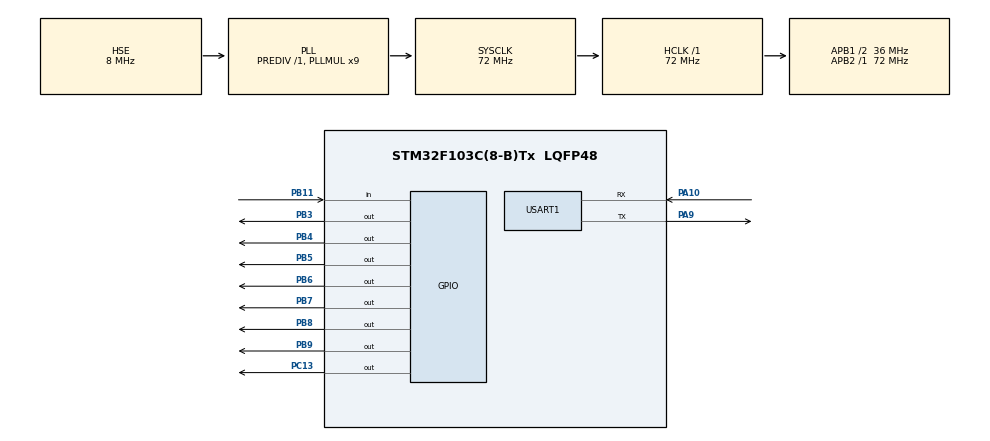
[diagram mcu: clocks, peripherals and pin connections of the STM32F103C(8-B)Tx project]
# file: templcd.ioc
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Mcu.Family=STM32F1
Mcu.Name=STM32F103C(8-B)Tx
Mcu.Package=LQFP48
NVIC.PriorityGroup=NVIC_PRIORITYGROUP_4
PA10.Mode=Asynchronous
PA10.Signal=USART1_RX
PA13.Mode=Serial_Wire
PA13.Signal=SYS_JTMS-SWDIO
PA14.Mode=Serial_Wire
PA14.Signal=SYS_JTCK-SWCLK
PA9.Mode=Asynchronous
PA9.Signal=USART1_TX
PB11.Signal=GPIO_Input
PB3.GPIO_Speed=GPIO_SPEED_FREQ_MEDIUM
PB3.Signal=GPIO_Output
PB4.GPIO_Speed=GPIO_SPEED_FREQ_MEDIUM
PB4.Signal=GPIO_Output
PB5.GPIO_Speed=GPIO_SPEED_FREQ_MEDIUM
PB5.Signal=GPIO_Output
PB6.GPIO_Speed=GPIO_SPEED_FREQ_MEDIUM
PB6.Signal=GPIO_Output
PB7.GPIO_Speed=GPIO_SPEED_FREQ_MEDIUM
PB7.Signal=GPIO_Output
PB8.GPIO_Speed=GPIO_SPEED_FREQ_MEDIUM
PB8.Signal=GPIO_Output
PB9.GPIO_Speed=GPIO_SPEED_FREQ_MEDIUM
PB9.Signal=GPIO_Output
PC13-TAMPER-RTC.GPIO_Speed=GPIO_SPEED_FREQ_MEDIUM
PC13-TAMPER-RTC.Signal=GPIO_Output
PD0-OSC_IN.Mode=HSE-External-Oscillator
PD0-OSC_IN.Signal=RCC_OSC_IN
PD1-OSC_OUT.Mode=HSE-External-Oscillator
PD1-OSC_OUT.Signal=RCC_OSC_OUT
ProjectManager.HeapSize=0x200
ProjectManager.StackSize=0x400
ProjectManager.TargetToolchain=Makefile
RCC.AHBFreq_Value=72000000
RCC.APB1CLKDivider=RCC_HCLK_DIV2
RCC.APB1Freq_Value=36000000
RCC.APB1TimFreq_Value=72000000
RCC.APB2Freq_Value=72000000
RCC.APB2TimFreq_Value=72000000
RCC.HCLKFreq_Value=72000000
RCC.PLLMUL=RCC_PLL_MUL9
RCC.PLLSourceVirtual=RCC_PLLSOURCE_HSE
RCC.SYSCLKFreq_VALUE=72000000
RCC.SYSCLKSource=RCC_SYSCLKSOURCE_PLLCLK
RCC.USBFreq_Value=72000000
USART1.VirtualMode=VM_ASYNC
board=templcd

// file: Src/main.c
/**
  ******************************************************************************
  * File Name          : main.c
  * Description        : Main program body
  ******************************************************************************
  ** This notice applies to any and all portions of this file
  * that are not between comment pairs USER CODE BEGIN and
  * USER CODE END. Other portions of this file, whether
  * inserted by the user or by software development tools
  * are owned by their respective copyright owners.
  *
  * COPYRIGHT(c) 2017 STMicroelectronics
  *
  * Redistribution and use in source and binary forms, with or without modification,
  * are permitted provided that the following conditions are met:
  *   1. Redistributions of source code must retain the above copyright notice,
  *      this list of conditions and the following disclaimer.
  *   2. Redistributions in binary form must reproduce the above copyright notice,
  *      this list of conditions and the following disclaimer in the documentation
  *      and/or other materials provided with the distribution.
  *   3. Neither the name of STMicroelectronics nor the names of its contributors
  *      may be used to endorse or promote products derived from this software
  *      without specific prior written permission.
  *
  * THIS SOFTWARE IS PROVIDED BY THE COPYRIGHT HOLDERS AND CONTRIBUTORS "AS IS"
  * AND ANY EXPRESS OR IMPLIED WARRANTIES, INCLUDING, BUT NOT LIMITED TO, THE
  * IMPLIED WARRANTIES OF MERCHANTABILITY AND FITNESS FOR A PARTICULAR PURPOSE ARE
  * DISCLAIMED. IN NO EVENT SHALL THE COPYRIGHT HOLDER OR CONTRIBUTORS BE LIABLE
  * FOR ANY DIRECT, INDIRECT, INCIDENTAL, SPECIAL, EXEMPLARY, OR CONSEQUENTIAL
  * DAMAGES (INCLUDING, BUT NOT LIMITED TO, PROCUREMENT OF SUBSTITUTE GOODS OR
  * SERVICES; LOSS OF USE, DATA, OR PROFITS; OR BUSINESS INTERRUPTION) HOWEVER
  * CAUSED AND ON ANY THEORY OF LIABILITY, WHETHER IN CONTRACT, STRICT LIABILITY,
  * OR TORT (INCLUDING NEGLIGENCE OR OTHERWISE) ARISING IN ANY WAY OUT OF THE USE
  * OF THIS SOFTWARE, EVEN IF ADVISED OF THE POSSIBILITY OF SUCH DAMAGE.
  *
  ******************************************************************************
  */
#include "main.h"
#include "stm32f1xx_hal.h"
#include <unistd.h>

UART_HandleTypeDef huart1;

/* USER CODE BEGIN PV */
/* Private variables ---------------------------------------------------------*/
uint8_t Dev_ID[8][8];
uint8_t Dev_Cnt;
/* USER CODE END PV */

void SystemClock_Config(void);
static void MX_GPIO_Init(void);
static void MX_USART1_UART_Init(void);

/* USER CODE BEGIN PFP */
/* Private function prototypes -----------------------------------------------*/

/* USER CODE END PFP */

int main(void)
{

    /* USER CODE BEGIN 1 */
    uint8_t status, valcnt = 0;
    uint8_t dt[8];
    uint16_t raw_temper, i;
    float temper;
    char c;
    float opp = 90.6;

    /* USER CODE END 1 */

    /* MCU Configuration----------------------------------------------------------*/

    /* Reset of all peripherals, Initializes the Flash interface and the Systick. */
    HAL_Init();

    /* Configure the system clock */
    SystemClock_Config();

    /* Initialize all configured peripherals */
    MX_GPIO_Init();
    MX_USART1_UART_Init();

    /* USER CODE BEGIN 2 */

    Init_LCD();
    GPIO_CUSTOM_INIT();
    ds18b20_all_sensors_init();

    /* USER CODE END 2 */

    /* Infinite loop */
    while (1)
    {

        /* USER CODE BEGIN 3 */
        PrintF(1, 0, "");
        #if 1
        for (i = 1; i <= Dev_Cnt; i++)
            ds18b20_MeasureTemperCmd(NO_SKIP_ROM, i);
        for (i = 1; i <= Dev_Cnt; i++)
        {
            ds18b20_ReadStratcpad(NO_SKIP_ROM, dt, i);
            raw_temper = ((uint16_t)dt[1] << 8) | dt[0];
            c = ds18b20_GetSign(raw_temper) ? '-' : '+';
            if (i == 1)
            {
              if ((int8_t)(raw_temper >> 4) < 0) {
                sprintf(str1,"Home: %d,%d C ", (int8_t)(raw_temper >> 4), (0x000F & raw_temper)/10);
              } else {
                sprintf(str1,"Home: %c%d,%d C ", c, (int8_t)(raw_temper >> 4), (0x000F & raw_temper)/10);
                sprintf(str1,"Home: %c%d,%d C ", c, ((int16_t)(ds18b20_Convert(raw_temper))), (int16_t)(ds18b20_Convert(raw_temper)*100)%10);
              }
              PrintF(2, 0, &str1);
            } else if (i == 2) {
              if ((int8_t)(raw_temper >> 4) < 0) {
                sprintf(str1,"Street: %d,%d C ", (int8_t)(raw_temper >> 4), (0x000F & raw_temper)/10);
              } else {
                sprintf(str1,"Street: %c%d,%d C ", c, (int8_t)(raw_temper >> 4), (0x000F & raw_temper)/10);
              }
              PrintF(3, 0, &str1);
            } else {
              break;
            }
            _printf(str1, "%s\n", str1);
        }
        #endif
        HAL_GPIO_TogglePin(GPIOC, GPIO_PIN_13);
        HAL_Delay(1000);
    }
    /* USER CODE END 3 */

}

/** System Clock Configuration
*/
void SystemClock_Config(void)
{

    RCC_OscInitTypeDef RCC_OscInitStruct;
    RCC_ClkInitTypeDef RCC_ClkInitStruct;

    /**Initializes the CPU, AHB and APB busses clocks
    */
    RCC_OscInitStruct.OscillatorType = RCC_OSCILLATORTYPE_HSE;
    RCC_OscInitStruct.HSEState = RCC_HSE_ON;
    RCC_OscInitStruct.HSEPredivValue = RCC_HSE_PREDIV_DIV1;
    RCC_OscInitStruct.HSIState = RCC_HSI_ON;
    RCC_OscInitStruct.PLL.PLLState = RCC_PLL_ON;
    RCC_OscInitStruct.PLL.PLLSource = RCC_PLLSOURCE_HSE;
    RCC_OscInitStruct.PLL.PLLMUL = RCC_PLL_MUL9;
    if (HAL_RCC_OscConfig(&RCC_OscInitStruct) != HAL_OK)
    {
        _Error_Handler(__FILE__, __LINE__);
    }

    /**Initializes the CPU, AHB and APB busses clocks
    */
    RCC_ClkInitStruct.ClockType = RCC_CLOCKTYPE_HCLK|RCC_CLOCKTYPE_SYSCLK
            |RCC_CLOCKTYPE_PCLK1|RCC_CLOCKTYPE_PCLK2;
    RCC_ClkInitStruct.SYSCLKSource = RCC_SYSCLKSOURCE_PLLCLK;
    RCC_ClkInitStruct.AHBCLKDivider = RCC_SYSCLK_DIV1;
    RCC_ClkInitStruct.APB1CLKDivider = RCC_HCLK_DIV2;
    RCC_ClkInitStruct.APB2CLKDivider = RCC_HCLK_DIV1;

    if (HAL_RCC_ClockConfig(&RCC_ClkInitStruct, FLASH_LATENCY_2) != HAL_OK)
    {
        _Error_Handler(__FILE__, __LINE__);
    }

    /**Configure the Systick interrupt time
    */
    HAL_SYSTICK_Config(HAL_RCC_GetHCLKFreq()/1000);

    /**Configure the Systick
    */
    HAL_SYSTICK_CLKSourceConfig(SYSTICK_CLKSOURCE_HCLK);

    /* SysTick_IRQn interrupt configuration */
    HAL_NVIC_SetPriority(SysTick_IRQn, 0, 0);
}

/* USART1 init function */
static void MX_USART1_UART_Init(void)
{

    huart1.Instance = USART1;
    huart1.Init.BaudRate = 115200;
    huart1.Init.WordLength = UART_WORDLENGTH_8B;
    huart1.Init.StopBits = UART_STOPBITS_1;
    huart1.Init.Parity = UART_PARITY_NONE;
    huart1.Init.Mode = UART_MODE_TX_RX;
    huart1.Init.HwFlowCtl = UART_HWCONTROL_NONE;
    huart1.Init.OverSampling = UART_OVERSAMPLING_16;
    if (HAL_UART_Init(&huart1) != HAL_OK)
    {
        _Error_Handler(__FILE__, __LINE__);
    }

}

/** Configure pins as
        * Analog
        * Input
        * Output
        * EVENT_OUT
        * EXTI
*/
static void MX_GPIO_Init(void)
{

    GPIO_InitTypeDef GPIO_InitStruct;

    /* GPIO Ports Clock Enable */
    __HAL_RCC_GPIOC_CLK_ENABLE();
    __HAL_RCC_GPIOD_CLK_ENABLE();
    __HAL_RCC_GPIOB_CLK_ENABLE();
    __HAL_RCC_GPIOA_CLK_ENABLE();

    /*Configure GPIO pin Output Level */
    HAL_GPIO_WritePin(GPIOC, GPIO_PIN_13, GPIO_PIN_RESET);

    /*Configure GPIO pin Output Level */
    HAL_GPIO_WritePin(GPIOB, GPIO_PIN_3|GPIO_PIN_4|GPIO_PIN_5|GPIO_PIN_6
                      |GPIO_PIN_7|GPIO_PIN_8|GPIO_PIN_9, GPIO_PIN_RESET);

    /*Configure GPIO pin : PC13 */
    GPIO_InitStruct.Pin = GPIO_PIN_13;
    GPIO_InitStruct.Mode = GPIO_MODE_OUTPUT_PP;
    GPIO_InitStruct.Speed = GPIO_SPEED_FREQ_MEDIUM;
    HAL_GPIO_Init(GPIOC, &GPIO_InitStruct);

    /*Configure GPIO pin : PB11 */
    GPIO_InitStruct.Pin = GPIO_PIN_11;
    GPIO_InitStruct.Mode = GPIO_MODE_INPUT;
    GPIO_InitStruct.Pull = GPIO_NOPULL;
    HAL_GPIO_Init(GPIOB, &GPIO_InitStruct);

    /*Configure GPIO pins : PB3 PB4 PB5 PB6
                           PB7 PB8 PB9 */
    GPIO_InitStruct.Pin = GPIO_PIN_3|GPIO_PIN_4|GPIO_PIN_5|GPIO_PIN_6
            |GPIO_PIN_7|GPIO_PIN_8|GPIO_PIN_9;
    GPIO_InitStruct.Mode = GPIO_MODE_OUTPUT_PP;
    GPIO_InitStruct.Speed = GPIO_SPEED_FREQ_MEDIUM;
    HAL_GPIO_Init(GPIOB, &GPIO_InitStruct);

}

void _Error_Handler(char * file, int line)
{
    while(1)
    {
    }
}

/************************ (C) COPYRIGHT STMicroelectronics *****END OF FILE****/
